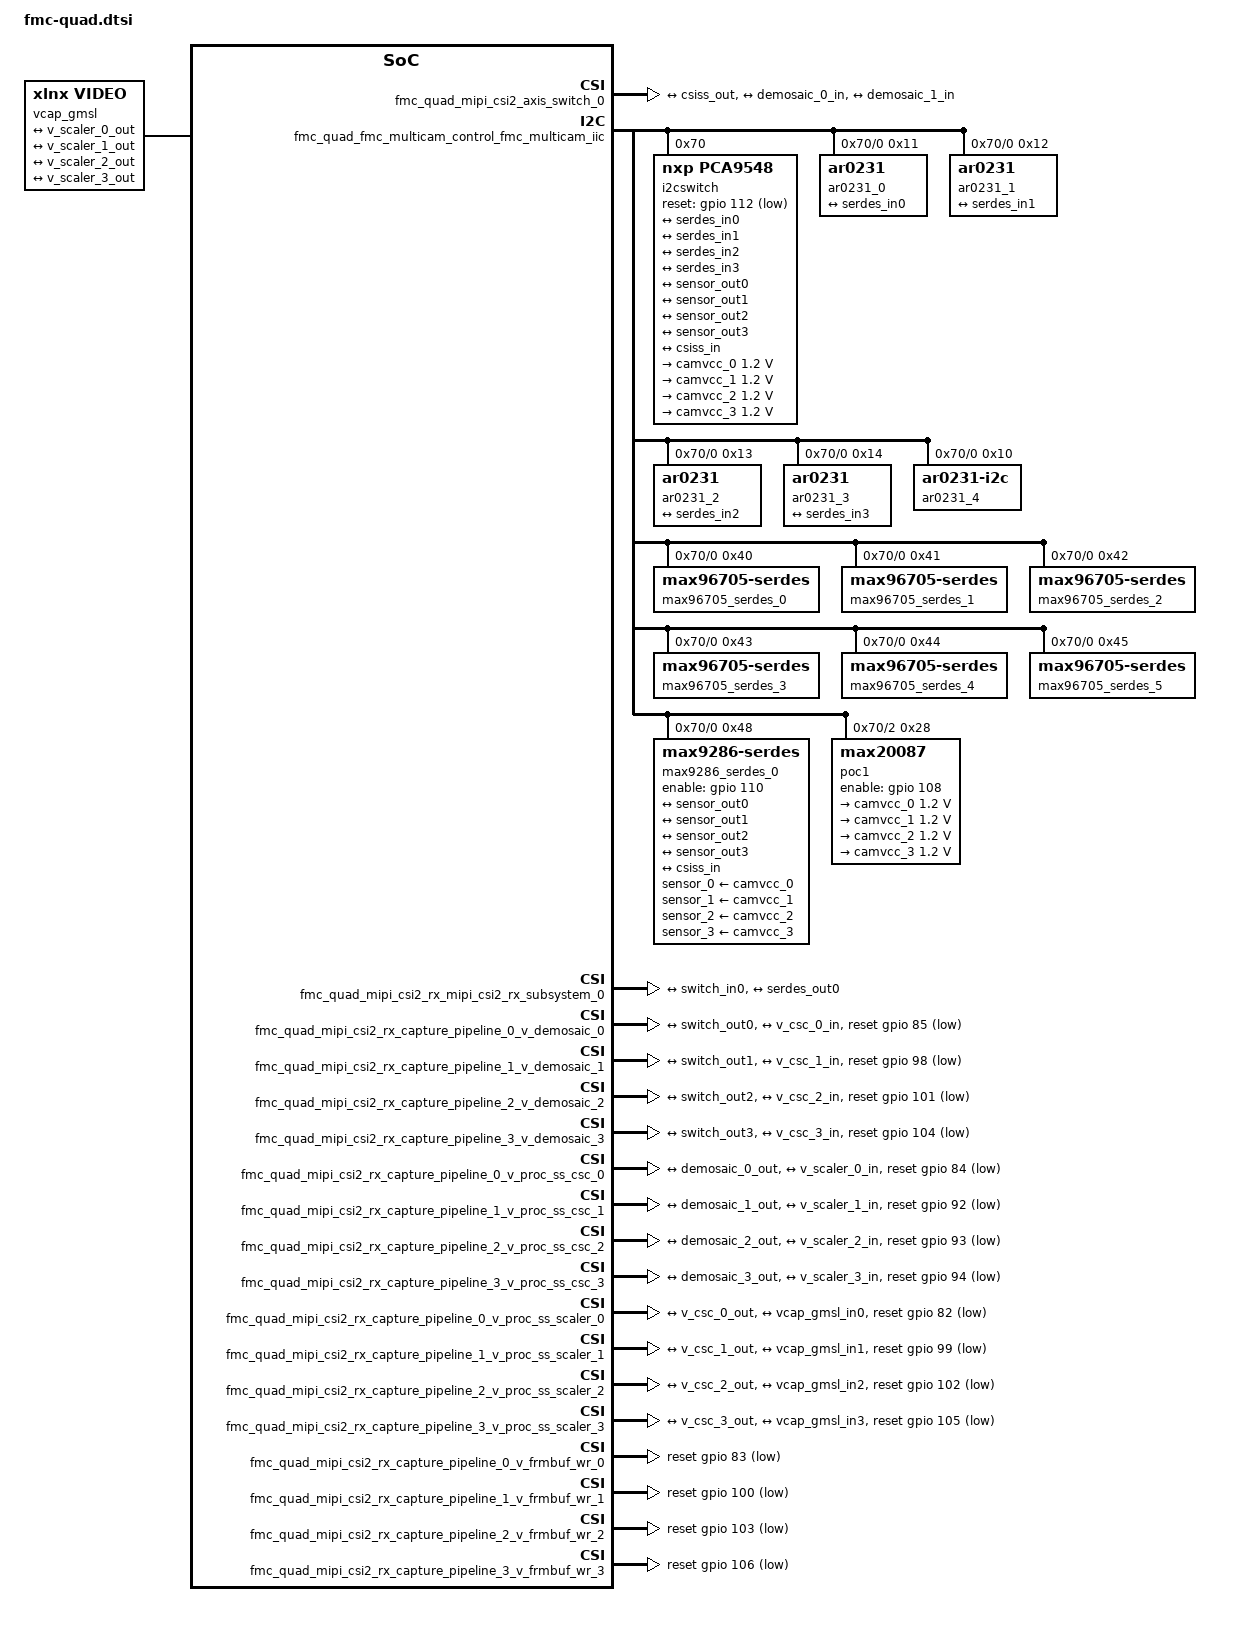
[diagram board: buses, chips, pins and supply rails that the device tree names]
#include <dt-bindings/media/xilinx-vip.h>

&fmc_quad_fmc_multicam_control_fmc_multicam_iic {
    
    i2cswitch@70 {
        compatible = "nxp,pca9548";
        #address-cells = <1>;
        #size-cells = <0>;
        reg = <0x70>;
        reset-gpios = <&gpio 112 1>;

        i2c@0 {
            #address-cells = <1>;
            #size-cells = <0>;
            reg = <0>;

            /* Sensors */
            ar0231_0: sensor@11 {
                compatible = "ar0231";
                reg = <0x11>;
                #address-cells = <1>;
                #size-cells = <0>;

                port@0 {
                    reg = <0>;
                    sensor_out0: endpoint {
                        remote-endpoint = <&serdes_in0>;
                    };
                };
            };
            ar0231_1: sensor@12 {
                compatible = "ar0231";
                reg = <0x12>;
                #address-cells = <1>;
                #size-cells = <0>;

                port@0 {
                    reg = <0>;
                    sensor_out1: endpoint {
                        remote-endpoint = <&serdes_in1>;
                    };
                };
            };
            ar0231_2: sensor@13 {
                compatible = "ar0231";
                reg = <0x13>;
                #address-cells = <1>;
                #size-cells = <0>;

                port@0 {
                    reg = <0>;
                    sensor_out2: endpoint {
                        remote-endpoint = <&serdes_in2>;
                    };
                };
            };
            ar0231_3: sensor@14 {
                compatible = "ar0231";
                reg = <0x14>;
                #address-cells = <1>;
                #size-cells = <0>;

                port@0 {
                    reg = <0>;
                    sensor_out3: endpoint {
                        remote-endpoint = <&serdes_in3>;
                    };
                };
            };
            ar0231_4: sensor@10 {
                compatible = "ar0231-i2c";
                reg = <0x10>;
                #address-cells = <1>;
                #size-cells = <0>;
            };

            /* Serializer */
            max96705_serdes_0: serdes@40 {
                compatible = "max96705-serdes";
                reg = <0x40>;
            };
            max96705_serdes_1: serdes@41 {
                compatible = "max96705-serdes";
                reg = <0x41>;
            };
            max96705_serdes_2: serdes@42 {
                compatible = "max96705-serdes";
                reg = <0x42>;
            };
            max96705_serdes_3: serdes@43 {
                compatible = "max96705-serdes";
                reg = <0x43>;
            };
            max96705_serdes_4: serdes@44 {
                compatible = "max96705-serdes";
                reg = <0x44>;
            };
            max96705_serdes_5: serdes@45 {
                compatible = "max96705-serdes";
                reg = <0x45>;
            };

            /* Deserializer */
            max9286_serdes_0: serdes@48 {
                compatible = "max9286-serdes";
                reg = <0x48>;
                num-si-slots = <0x4>;
                num-mi-slots = <0x1>;
                cam-config = <0x6>;
                mipi-lanes = <0x4>;
                pixel-freq = <75>;
                sensor_0-supply = <&camvcc_0>;
                sensor_1-supply = <&camvcc_1>;
                sensor_2-supply = <&camvcc_2>;
                sensor_3-supply = <&camvcc_3>;
                enable-gpios = <&gpio 110 0>;

                serializer_adapter_default  = <&max96705_serdes_0>;
                serializer_adapter_brdcast  = <&max96705_serdes_5>;
                sensor_adapter_brdcast = <&ar0231_4>;

                ports {
                    #address-cells = <1>;
                    #size-cells = <0>;

                    port@0 {
                        reg = <0>;
                        enable = <1>;
                        video-format = <XVIP_VF_MONO_SENSOR>;
                        video-width = <8>;
                        cfa-pattern = "rggb";
                        serializer_adapter_link0 = <&max96705_serdes_1>;
                        sensor_adapter_0 = <&ar0231_0>;
                        serdes_in0: endpoint {
                            remote-endpoint = <&sensor_out0>;
                        };
                    };
                    port@1 {
                        reg = <1>;
                        enable = <1>;
                        video-format = <XVIP_VF_MONO_SENSOR>;
                        video-width = <8>;
                        cfa-pattern = "rggb";
                        serializer_adapter_link1 = <&max96705_serdes_2>;
                        sensor_adapter_1 = <&ar0231_1>;
                        serdes_in1: endpoint {
                            remote-endpoint = <&sensor_out1>;
                        };
                    };
                    port@2 {
                        reg = <2>;
                        enable = <1>;
                        video-format = <XVIP_VF_MONO_SENSOR>;
                        video-width = <8>;
                        cfa-pattern = "rggb";
                        serializer_adapter_link2 = <&max96705_serdes_3>;
                        sensor_adapter_2 = <&ar0231_2>;
                        serdes_in2: endpoint {
                            remote-endpoint = <&sensor_out2>;
                        };
                    };
                    port@3 {
                        reg = <3>;
                        enable = <1>;
                        video-format = <XVIP_VF_MONO_SENSOR>;
                        video-width = <8>;
                        cfa-pattern = "rggb";
                        serializer_adapter_link3 = <&max96705_serdes_4>;
                        sensor_adapter_3 = <&ar0231_3>;
                        serdes_in3: endpoint {
                            remote-endpoint = <&sensor_out3>;
                        };
                    };
                    port@4 {
                        reg = <4>;
                        enable = <1>;
                        video-format = <XVIP_VF_MONO_SENSOR>;
                        video-width = <8>;
                        cfa-pattern = "rggb";
                        serdes_out0: endpoint {
                            remote-endpoint = <&csiss_in>;
                        };
                    };
                };
            };
        };

        /* Serializer & Sensor power */
        i2c@2 {
            #address-cells = <1>;
            #size-cells = <0>;
            reg = <2>;

            poc1: poc@28 {
                compatible = "max20087";
                reg = <0x28>;
                /*interrupts = <3 27>;*/
                enable-gpios = <&gpio 108 0>;

                regulators {
                    camvcc_0: OUT1 {
                        regulator-name = "VOUT1";
                        regulator-min-microvolt = <1200000>;
                        regulator-max-microvolt = <1200000>;
                        regulator-min-microamp  = <600000>;
                        regulator-max-microamp  = <600000>;
                    };
                    camvcc_1: OUT2 {
                        regulator-name = "VOUT2";
                        regulator-min-microvolt = <1200000>;
                        regulator-max-microvolt = <1200000>;
                        regulator-min-microamp  = <600000>;
                        regulator-max-microamp  = <600000>;
                    };
                    camvcc_2: OUT3 {
                        regulator-name = "VOUT3";
                        regulator-min-microvolt = <1200000>;
                        regulator-max-microvolt = <1200000>;
                        regulator-min-microamp  = <600000>;
                        regulator-max-microamp  = <600000>;
                    };
                    camvcc_3: OUT4 {
                        regulator-name = "VOUT4";
                        regulator-min-microvolt = <1200000>;
                        regulator-max-microvolt = <1200000>;
                        regulator-min-microamp  = <600000>;
                        regulator-max-microamp  = <600000>;
                    };
                };
            };
        };
    };
};

&fmc_quad_mipi_csi2_rx_mipi_csi2_rx_subsystem_0 {
    
    xlnx,csi-pxl-format = "RAW8";

    ports {
        #address-cells = <1>;
        #size-cells = <0>;

        port@0 {
            reg = <0>;

            xlnx,video-format = <XVIP_VF_MONO_SENSOR>;
            xlnx,video-width = <8>;
            xlnx,cfa-pattern = "rggb";

            csiss_out: endpoint {
                remote-endpoint = <&switch_in0>;
            };
        };
        port@1 {
            reg = <1>;

            xlnx,video-format = <XVIP_VF_MONO_SENSOR>;
            xlnx,video-width = <8>;
            xlnx,cfa-pattern = "rggb";

            csiss_in: endpoint {
                data-lanes = <1 2 3 4>;
                remote-endpoint = <&serdes_out0>;
            };
        };
    };
};

&fmc_quad_mipi_csi2_rx_capture_pipeline_0_v_demosaic_0
{
    reset-gpios = <&gpio 85 1>;
    xlnx,max-height = <1080>;
    xlnx,max-width = <1920>;

    ports {
        #address-cells = <1>;
        #size-cells = <0>;

        port@0 {
            reg = <0>;

            xlnx,video-width = <8>;
            xlnx,cfa-pattern = "grbg";

            demosaic_0_in: endpoint {
                remote-endpoint = <&switch_out0>;
            };
        };

        port@1 {
            reg = <1>;

            xlnx,video-width = <8>;

            demosaic_0_out: endpoint {
                remote-endpoint = <&v_csc_0_in>;
            };
        };
    };
};
&fmc_quad_mipi_csi2_rx_capture_pipeline_1_v_demosaic_1
{
    reset-gpios = <&gpio 98 1>;
    xlnx,max-height = <1080>;
    xlnx,max-width = <1920>;

    ports {
        #address-cells = <1>;
        #size-cells = <0>;

        port@0 {
            reg = <0>;

            xlnx,video-width = <8>;
            xlnx,cfa-pattern = "grbg";

            demosaic_1_in: endpoint {
                remote-endpoint = <&switch_out1>;
            };
        };

        port@1 {
            reg = <1>;

            xlnx,video-width = <8>;

            demosaic_1_out: endpoint {
                remote-endpoint = <&v_csc_1_in>;
            };
        };
    };
};
&fmc_quad_mipi_csi2_rx_capture_pipeline_2_v_demosaic_2
{
    reset-gpios = <&gpio 101 1>;
    xlnx,max-height = <1080>;
    xlnx,max-width = <1920>;

    ports {
        #address-cells = <1>;
        #size-cells = <0>;

        port@0 {
            reg = <0>;

            xlnx,video-width = <8>;
            xlnx,cfa-pattern = "grbg";

            demosaic_2_in: endpoint {
                remote-endpoint = <&switch_out2>;
            };
        };

        port@1 {
            reg = <1>;

            xlnx,video-width = <8>;

            demosaic_2_out: endpoint {
                remote-endpoint = <&v_csc_2_in>;
            };
        };
    };
};
&fmc_quad_mipi_csi2_rx_capture_pipeline_3_v_demosaic_3
{
    reset-gpios = <&gpio 104 1>;
    xlnx,max-height = <1080>;
    xlnx,max-width = <1920>;

    ports {
        #address-cells = <1>;
        #size-cells = <0>;

        port@0 {
            reg = <0>;

            xlnx,video-width = <8>;
            xlnx,cfa-pattern = "grbg";

            demosaic_3_in: endpoint {
                remote-endpoint = <&switch_out3>;
            };
        };

        port@1 {
            reg = <1>;

            xlnx,video-width = <8>;

            demosaic_3_out: endpoint {
                remote-endpoint = <&v_csc_3_in>;
            };
        };
    };
};

&fmc_quad_mipi_csi2_rx_capture_pipeline_0_v_proc_ss_csc_0
{
    compatible = "xlnx,v-vpss-csc";
    reset-gpios = <&gpio 84 1>;
    ports {
        #address-cells = <1>;
        #size-cells = <0>;

        port@0 {
            reg = <0>;

            xlnx,video-format = <XVIP_VF_RBG>;
            xlnx,video-width = <8>;

            v_csc_0_in: endpoint {
                remote-endpoint = <&demosaic_0_out>;
            };
        };
        port@1 {
            reg = <1>;

            xlnx,video-format = <XVIP_VF_YUV_422>;
            xlnx,video-width = <8>;

            v_csc_0_out: endpoint {
                remote-endpoint = <&v_scaler_0_in>;
            };
        };
    };  
};
&fmc_quad_mipi_csi2_rx_capture_pipeline_1_v_proc_ss_csc_1
{
    compatible = "xlnx,v-vpss-csc";
    reset-gpios = <&gpio 92 1>;
    ports {
        #address-cells = <1>;
        #size-cells = <0>;

        port@0 {
            reg = <0>;

            xlnx,video-format = <XVIP_VF_RBG>;
            xlnx,video-width = <8>;

            v_csc_1_in: endpoint {
                remote-endpoint = <&demosaic_1_out>;
            };
        };
        port@1 {
            reg = <1>;

            xlnx,video-format = <XVIP_VF_YUV_422>;
            xlnx,video-width = <8>;

            v_csc_1_out: endpoint {
                remote-endpoint = <&v_scaler_1_in>;
            };
        };
    };  
};
&fmc_quad_mipi_csi2_rx_capture_pipeline_2_v_proc_ss_csc_2
{
    compatible = "xlnx,v-vpss-csc";
    reset-gpios = <&gpio 93 1>;
    ports {
        #address-cells = <1>;
        #size-cells = <0>;

        port@0 {
            reg = <0>;

            xlnx,video-format = <XVIP_VF_RBG>;
            xlnx,video-width = <8>;

            v_csc_2_in: endpoint {
                remote-endpoint = <&demosaic_2_out>;
            };
        };
        port@1 {
            reg = <1>;

            xlnx,video-format = <XVIP_VF_YUV_422>;
            xlnx,video-width = <8>;

            v_csc_2_out: endpoint {
                remote-endpoint = <&v_scaler_2_in>;
            };
        };
    };  
};
&fmc_quad_mipi_csi2_rx_capture_pipeline_3_v_proc_ss_csc_3
{
    compatible = "xlnx,v-vpss-csc";
    reset-gpios = <&gpio 94 1>;
    ports {
        #address-cells = <1>;
        #size-cells = <0>;

        port@0 {
            reg = <0>;

            xlnx,video-format = <XVIP_VF_RBG>;
            xlnx,video-width = <8>;

            v_csc_3_in: endpoint {
                remote-endpoint = <&demosaic_3_out>;
            };
        };
        port@1 {
            reg = <1>;

            xlnx,video-format = <XVIP_VF_YUV_422>;
            xlnx,video-width = <8>;

            v_csc_3_out: endpoint {
                remote-endpoint = <&v_scaler_3_in>;
            };
        };
    };  
};

&fmc_quad_mipi_csi2_rx_capture_pipeline_0_v_proc_ss_scaler_0
{
    compatible = "xlnx,v-vpss-scaler-2.2";
    reset-gpios = <&gpio 82 1>;

    ports {
        #address-cells = <1>;
        #size-cells = <0>;

        port@0 {
            reg = <0>;

            xlnx,video-format = <XVIP_VF_YUV_422>;
            xlnx,video-width = <8>;

            v_scaler_0_in: endpoint {
                remote-endpoint = <&v_csc_0_out>;
            };
        };
        port@1 {
            reg = <1>;

            xlnx,video-format = <XVIP_VF_YUV_422>;
            xlnx,video-width = <8>;

            v_scaler_0_out: endpoint {
                remote-endpoint = <&vcap_gmsl_in0>;
            };
        };
    };
};
&fmc_quad_mipi_csi2_rx_capture_pipeline_1_v_proc_ss_scaler_1
{
    compatible = "xlnx,v-vpss-scaler-2.2";
    reset-gpios = <&gpio 99 1>;

    ports {
        #address-cells = <1>;
        #size-cells = <0>;

        port@0 {
            reg = <0>;

            xlnx,video-format = <XVIP_VF_YUV_422>;
            xlnx,video-width = <8>;

            v_scaler_1_in: endpoint {
                remote-endpoint = <&v_csc_1_out>;
            };
        };
        port@1 {
            reg = <1>;

            xlnx,video-format = <XVIP_VF_YUV_422>;
            xlnx,video-width = <8>;

            v_scaler_1_out: endpoint {
                remote-endpoint = <&vcap_gmsl_in1>;
            };
        };
    };
};
&fmc_quad_mipi_csi2_rx_capture_pipeline_2_v_proc_ss_scaler_2
{
    compatible = "xlnx,v-vpss-scaler-2.2";
    reset-gpios = <&gpio 102 1>;

    ports {
        #address-cells = <1>;
        #size-cells = <0>;

        port@0 {
            reg = <0>;

            xlnx,video-format = <XVIP_VF_YUV_422>;
            xlnx,video-width = <8>;

            v_scaler_2_in: endpoint {
                remote-endpoint = <&v_csc_2_out>;
            };
        };
        port@1 {
            reg = <1>;

            xlnx,video-format = <XVIP_VF_YUV_422>;
            xlnx,video-width = <8>;

            v_scaler_2_out: endpoint {
                remote-endpoint = <&vcap_gmsl_in2>;
            };
        };
    };
};
&fmc_quad_mipi_csi2_rx_capture_pipeline_3_v_proc_ss_scaler_3
{
    compatible = "xlnx,v-vpss-scaler-2.2";
    reset-gpios = <&gpio 105 1>;

    ports {
        #address-cells = <1>;
        #size-cells = <0>;

        port@0 {
            reg = <0>;

            xlnx,video-format = <XVIP_VF_YUV_422>;
            xlnx,video-width = <8>;

            v_scaler_3_in: endpoint {
                remote-endpoint = <&v_csc_3_out>;
            };
        };
        port@1 {
            reg = <1>;

            xlnx,video-format = <XVIP_VF_YUV_422>;
            xlnx,video-width = <8>;

            v_scaler_3_out: endpoint {
                remote-endpoint = <&vcap_gmsl_in3>;
            };
        };
    };
};

&fmc_quad_mipi_csi2_rx_capture_pipeline_0_v_frmbuf_wr_0
{
    compatible = "xlnx,axi-frmbuf-wr-v2";
    xlnx,dma-align = <32>;
    reset-gpios = <&gpio 83 1>;
};
&fmc_quad_mipi_csi2_rx_capture_pipeline_1_v_frmbuf_wr_1
{
    compatible = "xlnx,axi-frmbuf-wr-v2";
    xlnx,dma-align = <32>;
    reset-gpios = <&gpio 100 1>;
};
&fmc_quad_mipi_csi2_rx_capture_pipeline_2_v_frmbuf_wr_2
{
    compatible = "xlnx,axi-frmbuf-wr-v2";
    xlnx,dma-align = <32>;
    reset-gpios = <&gpio 103 1>;
};
&fmc_quad_mipi_csi2_rx_capture_pipeline_3_v_frmbuf_wr_3
{
    compatible = "xlnx,axi-frmbuf-wr-v2";
    xlnx,dma-align = <32>;
    reset-gpios = <&gpio 106 1>;
};

/ {

    amba: amba {

        fmc_quad_mipi_csi2_axis_switch_0: axis_switch@0 {
            compatible = "xlnx,axis-switch-1.1";
            xlnx,routing-mode = <0x0>;
            xlnx,num-si-slots = <0x1>;
            xlnx,num-mi-slots = <0x4>;
            clock-names = "aclk";
            clocks = <&misc_clk_0>; 

            ports {
                #address-cells = <1>;
                #size-cells = <0>;
                port@0 {
                    reg = <0>;
                    xlnx,video-format = <XVIP_VF_MONO_SENSOR>;
                    xlnx,video-width = <8>;
                    switch_in0: endpoint {
                        remote-endpoint = <&csiss_out>;
                    };
                };
                port@1 {
                    reg = <1>;
                    xlnx,video-format = <XVIP_VF_MONO_SENSOR>;
                    xlnx,video-width = <8>;
                    switch_out0: endpoint {
                        remote-endpoint = <&demosaic_0_in>;
                    };
                };
                port@2 {
                    reg = <2>;
                    xlnx,video-format = <XVIP_VF_MONO_SENSOR>;
                    xlnx,video-width = <8>;
                    switch_out1: endpoint {
                        remote-endpoint = <&demosaic_1_in>;
                    };
                };
                port@3 {
                    reg = <3>;
                    xlnx,video-format = <XVIP_VF_MONO_SENSOR>;
                    xlnx,video-width = <8>;
                    switch_out2: endpoint {
                        remote-endpoint = <&demosaic_2_in>;
                    };
                };
                port@4 {
                    reg = <4>;
                    xlnx,video-format = <XVIP_VF_MONO_SENSOR>;
                    xlnx,video-width = <8>;
                    switch_out3: endpoint {
                        remote-endpoint = <&demosaic_3_in>;
                    };
                };
            };
        };
    };

    amba_pl: amba_pl@0 {

        vcap_gmsl {
            compatible = "xlnx,video";
            dmas = <&fmc_quad_mipi_csi2_rx_capture_pipeline_0_v_frmbuf_wr_0 0>, <&fmc_quad_mipi_csi2_rx_capture_pipeline_1_v_frmbuf_wr_1 0>, <&fmc_quad_mipi_csi2_rx_capture_pipeline_2_v_frmbuf_wr_2 0>, <&fmc_quad_mipi_csi2_rx_capture_pipeline_3_v_frmbuf_wr_3 0>;
            dma-names = "port0", "port1", "port2", "port3";

            ports {
                #address-cells = <1>;
                #size-cells = <0>;

                port@0 {
                    reg = <0>;
                    direction = "input";

                    vcap_gmsl_in0: endpoint {
                        remote-endpoint = <&v_scaler_0_out>;
                    };
                };

                port@1 {
                    reg = <1>;
                    direction = "input";

                    vcap_gmsl_in1: endpoint {
                        remote-endpoint = <&v_scaler_1_out>;
                    };
                };

                port@2 {
                    reg = <2>;
                    direction = "input";

                    vcap_gmsl_in2: endpoint {
                        remote-endpoint = <&v_scaler_2_out>;
                    };
                };

                port@3 {
                    reg = <3>;
                    direction = "input";

                    vcap_gmsl_in3: endpoint {
                        remote-endpoint = <&v_scaler_3_out>;
                    };
                };

            };
        };
    };
};

